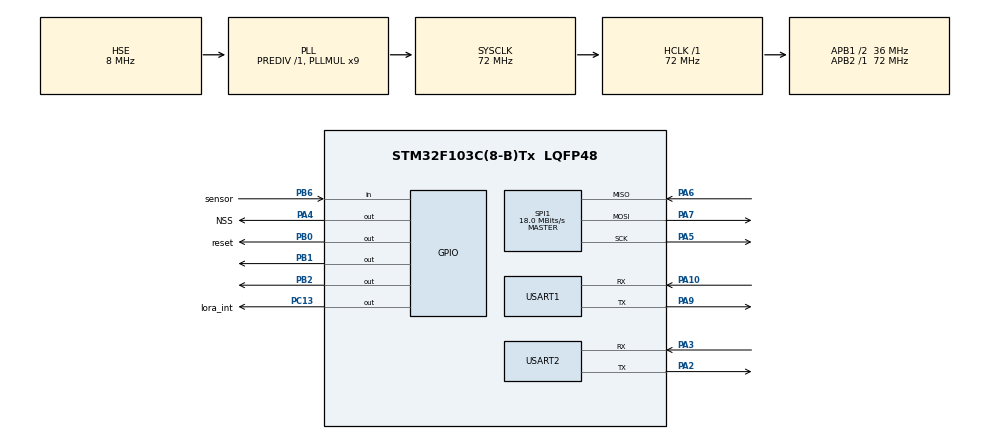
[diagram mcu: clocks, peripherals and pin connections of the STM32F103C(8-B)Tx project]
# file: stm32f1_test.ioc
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Mcu.Family=STM32F1
Mcu.Name=STM32F103C(8-B)Tx
Mcu.Package=LQFP48
NVIC.PriorityGroup=NVIC_PRIORITYGROUP_4
PA10.Mode=Asynchronous
PA10.Signal=USART1_RX
PA13.Mode=Trace_Asynchronous_SW
PA13.Signal=SYS_JTMS-SWDIO
PA14.Mode=Trace_Asynchronous_SW
PA14.Signal=SYS_JTCK-SWCLK
PA2.Mode=Asynchronous
PA2.Signal=USART2_TX
PA3.Mode=Asynchronous
PA3.Signal=USART2_RX
PA4.GPIO_Label=NSS
PA4.PinState=GPIO_PIN_SET
PA4.Signal=GPIO_Output
PA5.Mode=Full_Duplex_Master
PA5.Signal=SPI1_SCK
PA6.Mode=Full_Duplex_Master
PA6.Signal=SPI1_MISO
PA7.Mode=Full_Duplex_Master
PA7.Signal=SPI1_MOSI
PA9.Mode=Asynchronous
PA9.Signal=USART1_TX
PB0.GPIO_Label=reset
PB0.PinState=GPIO_PIN_SET
PB0.Signal=GPIO_Output
PB1.PinState=GPIO_PIN_SET
PB1.Signal=GPIO_Output
PB2.PinState=GPIO_PIN_SET
PB2.Signal=GPIO_Output
PB3.Mode=Trace_Asynchronous_SW
PB3.Signal=SYS_JTDO-TRACESWO
PB6.GPIO_Label=sensor
PB6.Signal=GPIO_Input
PC13-TAMPER-RTC.GPIO_Label=lora_int
PC13-TAMPER-RTC.PinState=GPIO_PIN_SET
PC13-TAMPER-RTC.Signal=GPIO_Output
PD0-OSC_IN.Mode=HSE-External-Oscillator
PD0-OSC_IN.Signal=RCC_OSC_IN
PD1-OSC_OUT.Mode=HSE-External-Oscillator
PD1-OSC_OUT.Signal=RCC_OSC_OUT
ProjectManager.HeapSize=0x200
ProjectManager.StackSize=0x400
ProjectManager.TargetToolchain=MDK-ARM V5
RCC.AHBFreq_Value=72000000
RCC.APB1CLKDivider=RCC_HCLK_DIV2
RCC.APB1Freq_Value=36000000
RCC.APB1TimFreq_Value=72000000
RCC.APB2Freq_Value=72000000
RCC.APB2TimFreq_Value=72000000
RCC.HCLKFreq_Value=72000000
RCC.PLLMUL=RCC_PLL_MUL9
RCC.PLLSourceVirtual=RCC_PLLSOURCE_HSE
RCC.SYSCLKFreq_VALUE=72000000
RCC.SYSCLKSource=RCC_SYSCLKSOURCE_PLLCLK
RCC.USBFreq_Value=72000000
SPI1.BaudRatePrescaler=SPI_BAUDRATEPRESCALER_4
SPI1.CalculateBaudRate=18.0 MBits/s
SPI1.Direction=SPI_DIRECTION_2LINES
SPI1.Mode=SPI_MODE_MASTER
SPI1.VirtualType=VM_MASTER
USART1.VirtualMode=VM_ASYNC
USART2.VirtualMode=VM_ASYNC
board=custom

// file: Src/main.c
/**
  ******************************************************************************
  * @file           : main.c
  * @brief          : Main program body
  ******************************************************************************
  ** This notice applies to any and all portions of this file
  * that are not between comment pairs USER CODE BEGIN and
  * USER CODE END. Other portions of this file, whether
  * inserted by the user or by software development tools
  * are owned by their respective copyright owners.
  *
  * COPYRIGHT(c) 2019 STMicroelectronics
  *
  * Redistribution and use in source and binary forms, with or without modification,
  * are permitted provided that the following conditions are met:
  *   1. Redistributions of source code must retain the above copyright notice,
  *      this list of conditions and the following disclaimer.
  *   2. Redistributions in binary form must reproduce the above copyright notice,
  *      this list of conditions and the following disclaimer in the documentation
  *      and/or other materials provided with the distribution.
  *   3. Neither the name of STMicroelectronics nor the names of its contributors
  *      may be used to endorse or promote products derived from this software
  *      without specific prior written permission.
  *
  * THIS SOFTWARE IS PROVIDED BY THE COPYRIGHT HOLDERS AND CONTRIBUTORS "AS IS"
  * AND ANY EXPRESS OR IMPLIED WARRANTIES, INCLUDING, BUT NOT LIMITED TO, THE
  * IMPLIED WARRANTIES OF MERCHANTABILITY AND FITNESS FOR A PARTICULAR PURPOSE ARE
  * DISCLAIMED. IN NO EVENT SHALL THE COPYRIGHT HOLDER OR CONTRIBUTORS BE LIABLE
  * FOR ANY DIRECT, INDIRECT, INCIDENTAL, SPECIAL, EXEMPLARY, OR CONSEQUENTIAL
  * DAMAGES (INCLUDING, BUT NOT LIMITED TO, PROCUREMENT OF SUBSTITUTE GOODS OR
  * SERVICES; LOSS OF USE, DATA, OR PROFITS; OR BUSINESS INTERRUPTION) HOWEVER
  * CAUSED AND ON ANY THEORY OF LIABILITY, WHETHER IN CONTRACT, STRICT LIABILITY,
  * OR TORT (INCLUDING NEGLIGENCE OR OTHERWISE) ARISING IN ANY WAY OUT OF THE USE
  * OF THIS SOFTWARE, EVEN IF ADVISED OF THE POSSIBILITY OF SUCH DAMAGE.
  *
  ******************************************************************************
  */
#include "main.h"
#include "stm32f1xx_hal.h"
#include "bsp_dht11.h"
#include "dwt_stm32_delay.h"
#include "spi.h"
#include "SX1278.h"
//#include <stdio.h>
#include "gpio.h"
//#include "stm32f1xx_hal_spi.h"

SPI_HandleTypeDef hspi1;

UART_HandleTypeDef huart1;
UART_HandleTypeDef huart2;

/* USER CODE BEGIN PV */
/* Private variables ---------------------------------------------------------*/
uint8_t data[]="HELLO WORLD\n"; // transmit
char dht_dat[10]; // Output data will be here
unsigned char GlobalErr = 0;

SX1278_hw_t SX1278_hw;
SX1278_t SX1278;

int master;
int ret,ret_temp_master,ret_humi_master,ret_temp_slave,ret_humi_slave;
char buffer[100],buffer_temp[100],buffer_humi[100];
//char buffer[64];

//int message;
//int message_length;
int message=1;
int message_length,message_length_temp,message_length_humi;
int humi_ng , temp_ng  ;
float humi_tp , temp_tp ;
/* USER CODE END PV */

void SystemClock_Config(void);
static void MX_GPIO_Init(void);
static void MX_USART1_UART_Init(void);
static void MX_USART2_UART_Init(void);
static void MX_SPI1_Init(void);

/* USER CODE BEGIN PFP */
/* Private function prototypes -----------------------------------------------*/

/* USER CODE END PFP */

#ifdef __GNUC__
 /* With GCC/RAISONANCE, small printf (option LD Linker->Libraries->Small printf
 set to 'Yes') calls __io_putchar() */
 #define PUTCHAR_PROTOTYPE int __io_putchar(int ch)
#else
 #define PUTCHAR_PROTOTYPE int fputc(int ch, FILE *f)
#endif /* __GNUC__ */

/**
 * @brief Retargets the C library printf function to the USART.
 * @param None
 * @retval None
 */
PUTCHAR_PROTOTYPE
{
 /* Place your implementation of fputc here */
 /* e.g. write a character to the USART */
 HAL_UART_Transmit(&huart1, (uint8_t *)&ch, 1, 100);

 return ch;
}
int main(void)
{
  /* USER CODE BEGIN 1 */
DHT11_DATA_TypeDef DHT11_DATA ;
  /* USER CODE END 1 */

  /* MCU Configuration----------------------------------------------------------*/

  /* Reset of all peripherals, Initializes the Flash interface and the Systick. */
  HAL_Init();

  /* Configure the system clock */
  SystemClock_Config();

  /* Initialize all configured peripherals */
  MX_GPIO_Init();
  MX_USART1_UART_Init();
  MX_USART2_UART_Init();
  MX_SPI1_Init();
	DHT11_Init();
	DWT_Delay_Init();

	master = HAL_GPIO_ReadPin(MODE_GPIO_Port, MODE_Pin);
	if (master == 1) {
		printf("Mode: Master\r\n");
		HAL_GPIO_WritePin(MODE_GPIO_Port, MODE_Pin, GPIO_PIN_RESET);
	} else {
		printf("Mode: Slave\r\n");
		HAL_GPIO_WritePin(MODE_GPIO_Port, MODE_Pin, GPIO_PIN_SET);
	}

	//initialize LoRa module
	SX1278_hw.dio0.port = DIO0_GPIO_Port;
	SX1278_hw.dio0.pin = DIO0_Pin;
	SX1278_hw.nss.port = NSS_GPIO_Port;
	SX1278_hw.nss.pin = NSS_Pin;
	SX1278_hw.reset.port = reset_GPIO_Port;
	SX1278_hw.reset.pin = reset_Pin;
	SX1278_hw.spi = &hspi1;

	SX1278.hw = &SX1278_hw;

	printf("Configuring LoRa module\r\n");
	SX1278_begin(&SX1278, SX1278_433MHZ, SX1278_POWER_17DBM, SX1278_LORA_SF_7,
			SX1278_LORA_BW_125KHZ, 13);
	printf("Done configuring LoRaModule\r\n");

	if (master == 1) {
		ret = SX1278_LoRaEntryTx(&SX1278, 16, 2000);
	} else {
		ret = SX1278_LoRaEntryRx(&SX1278, 16, 2000);
	}

	printf("\r\n check DTH11\r\n") ;
	//HAL_Delay(1000);
	for(int i = 0; i < 1000; i++){
		DWT_Delay_us(1000);
		}

  /* Infinite loop */
  while (1)
  {
/*if(Read_TempAndHumidity ( & DHT11_DATA) == SUCCESS)
		{
			// HIEN THI GIA TRI
			printf("\r\nDHT11!\r\n\r\n %d.%d %RH , %d.%d *C \r\n",DHT11_DATA.humi_int,DHT11_DATA.humi_deci,DHT11_DATA.temp_int,DHT11_DATA.temp_deci);
		}
		else
			printf("\r\n??DHT11??\r\n") ;

		//HAL_Delay(1000);
		for(int i = 0; i < 1000; i++){
		DWT_Delay_us(1000);
		}
		*/
  /* USER CODE BEGIN 3 */
	if (master == 1)
	{
		if(Read_TempAndHumidity ( & DHT11_DATA) == SUCCESS)
		{
			printf("Master ...\r\n");
			// HIEN THI GIA TRI
			printf("\r\nDHT11!\r\n\r\n %d.%d %RH , %d.%d *C \r\n",DHT11_DATA.humi_int,DHT11_DATA.humi_deci,DHT11_DATA.temp_int,DHT11_DATA.temp_deci);
			humi_ng = (int)DHT11_DATA.humi_int;
			humi_tp =(float)DHT11_DATA.humi_deci ;

			temp_ng = (int)DHT11_DATA.temp_int ;
			temp_tp = (float)DHT11_DATA.temp_deci ;
			//HAL_Delay(1000);
			for(int i = 0; i < 1000; i++)
			{
				DWT_Delay_us(1000);
			}
			printf("Sending package...\r\n");
				message_length_temp = sprintf(buffer, "%d%d%2.0f%d%2.0f",message,humi_ng,humi_tp*100,temp_ng,temp_tp*100);
			ret_temp_master = SX1278_LoRaEntryTx(&SX1278, message_length_temp, 2000);
			printf("Entry: %d\r\n", ret_temp_master);

			printf("Temp & Humi : %s\r\n", buffer);

			ret_temp_master = SX1278_LoRaTxPacket(&SX1278, (uint8_t *) buffer, message_length_temp,2000);

			printf("Transmission: %d\r\n", ret_temp_master);

			printf("Package sent...\r\n\n");
		}
		else{
			printf("\r\n??DHT11??\r\n") ;
			for(int i = 0; i < 1000; i++)
			{
				DWT_Delay_us(1000);
			}
		}

	}
		else {
			printf("Slave ...\r\n");
			HAL_Delay(1000);
			printf("Receiving package...\r\n");

		//	ret = SX1278_LoRaRxPacket(&SX1278);
			ret_temp_slave = SX1278_LoRaRxPacket(&SX1278);
		//	ret_humi = SX1278_LoRaRxPacket(&SX1278);

	  //	printf("Received: %d\r\n", ret);
			 printf("Received_Temp: %d\r\n", ret_temp_slave);
		//	printf("Received_Humi: %d\r\n", ret_humi);

			if (ret_temp_slave > 0) {

			//	SX1278_read(&SX1278, (uint8_t *) buffer, ret);
				SX1278_read(&SX1278, (uint8_t *) buffer_temp, ret_temp_slave);
			//	SX1278_read(&SX1278, (uint8_t *) buffer_humi, ret_humi);

	//	printf("Content (%d): %s\r\n", ret, buffer);
			printf("Content_Temp (%d): %s\r\n", ret_temp_slave, buffer_temp);
		//	printf("Content_Humi (%d): %s\r\n", ret_humi, buffer_humi);
			}
			printf("Package received ...\r\n");

		}
  }

  /* USER CODE END 3 */

}

void SystemClock_Config(void)
{

  RCC_OscInitTypeDef RCC_OscInitStruct;
  RCC_ClkInitTypeDef RCC_ClkInitStruct;

    /**Initializes the CPU, AHB and APB busses clocks
    */
  RCC_OscInitStruct.OscillatorType = RCC_OSCILLATORTYPE_HSE;
  RCC_OscInitStruct.HSEState = RCC_HSE_ON;
  RCC_OscInitStruct.HSEPredivValue = RCC_HSE_PREDIV_DIV1;
  RCC_OscInitStruct.HSIState = RCC_HSI_ON;
  RCC_OscInitStruct.PLL.PLLState = RCC_PLL_ON;
  RCC_OscInitStruct.PLL.PLLSource = RCC_PLLSOURCE_HSE;
  RCC_OscInitStruct.PLL.PLLMUL = RCC_PLL_MUL9;
  if (HAL_RCC_OscConfig(&RCC_OscInitStruct) != HAL_OK)
  {
    _Error_Handler(__FILE__, __LINE__);
  }

    /**Initializes the CPU, AHB and APB busses clocks
    */
  RCC_ClkInitStruct.ClockType = RCC_CLOCKTYPE_HCLK|RCC_CLOCKTYPE_SYSCLK
                              |RCC_CLOCKTYPE_PCLK1|RCC_CLOCKTYPE_PCLK2;
  RCC_ClkInitStruct.SYSCLKSource = RCC_SYSCLKSOURCE_PLLCLK;
  RCC_ClkInitStruct.AHBCLKDivider = RCC_SYSCLK_DIV1;
  RCC_ClkInitStruct.APB1CLKDivider = RCC_HCLK_DIV2;
  RCC_ClkInitStruct.APB2CLKDivider = RCC_HCLK_DIV1;

  if (HAL_RCC_ClockConfig(&RCC_ClkInitStruct, FLASH_LATENCY_2) != HAL_OK)
  {
    _Error_Handler(__FILE__, __LINE__);
  }

    /**Configure the Systick interrupt time
    */
  HAL_SYSTICK_Config(HAL_RCC_GetHCLKFreq()/1000);

    /**Configure the Systick
    */
  HAL_SYSTICK_CLKSourceConfig(SYSTICK_CLKSOURCE_HCLK);

  /* SysTick_IRQn interrupt configuration */
  HAL_NVIC_SetPriority(SysTick_IRQn, 0, 0);
}

/* SPI1 init function */
static void MX_SPI1_Init(void)
{

  /* SPI1 parameter configuration*/
  hspi1.Instance = SPI1;
  hspi1.Init.Mode = SPI_MODE_MASTER;
  hspi1.Init.Direction = SPI_DIRECTION_2LINES;
  hspi1.Init.DataSize = SPI_DATASIZE_8BIT;
  hspi1.Init.CLKPolarity = SPI_POLARITY_LOW;
  hspi1.Init.CLKPhase = SPI_PHASE_1EDGE;
  hspi1.Init.NSS = SPI_NSS_SOFT;
  hspi1.Init.BaudRatePrescaler = SPI_BAUDRATEPRESCALER_4;
  hspi1.Init.FirstBit = SPI_FIRSTBIT_MSB;
  hspi1.Init.TIMode = SPI_TIMODE_DISABLE;
  hspi1.Init.CRCCalculation = SPI_CRCCALCULATION_DISABLE;
  hspi1.Init.CRCPolynomial = 10;
  if (HAL_SPI_Init(&hspi1) != HAL_OK)
  {
    _Error_Handler(__FILE__, __LINE__);
  }

}

/* USART1 init function */
static void MX_USART1_UART_Init(void)
{

  huart1.Instance = USART1;
  huart1.Init.BaudRate = 115200;
  huart1.Init.WordLength = UART_WORDLENGTH_8B;
  huart1.Init.StopBits = UART_STOPBITS_1;
  huart1.Init.Parity = UART_PARITY_NONE;
  huart1.Init.Mode = UART_MODE_TX_RX;
  huart1.Init.HwFlowCtl = UART_HWCONTROL_NONE;
  huart1.Init.OverSampling = UART_OVERSAMPLING_16;
  if (HAL_UART_Init(&huart1) != HAL_OK)
  {
    _Error_Handler(__FILE__, __LINE__);
  }

}

/* USART2 init function */
static void MX_USART2_UART_Init(void)
{

  huart2.Instance = USART2;
  huart2.Init.BaudRate = 115200;
  huart2.Init.WordLength = UART_WORDLENGTH_8B;
  huart2.Init.StopBits = UART_STOPBITS_1;
  huart2.Init.Parity = UART_PARITY_NONE;
  huart2.Init.Mode = UART_MODE_TX_RX;
  huart2.Init.HwFlowCtl = UART_HWCONTROL_NONE;
  huart2.Init.OverSampling = UART_OVERSAMPLING_16;
  if (HAL_UART_Init(&huart2) != HAL_OK)
  {
    _Error_Handler(__FILE__, __LINE__);
  }

}

/** Configure pins as
        * Analog
        * Input
        * Output
        * EVENT_OUT
        * EXTI
*/
static void MX_GPIO_Init(void)
{

  GPIO_InitTypeDef GPIO_InitStruct;

  /* GPIO Ports Clock Enable */
  __HAL_RCC_GPIOC_CLK_ENABLE();
  __HAL_RCC_GPIOD_CLK_ENABLE();
  __HAL_RCC_GPIOA_CLK_ENABLE();
  __HAL_RCC_GPIOB_CLK_ENABLE();

  /*Configure GPIO pin Output Level */
  HAL_GPIO_WritePin(lora_int_GPIO_Port, lora_int_Pin, GPIO_PIN_SET);

  /*Configure GPIO pin Output Level */
  HAL_GPIO_WritePin(NSS_GPIO_Port, NSS_Pin, GPIO_PIN_SET);

  /*Configure GPIO pin Output Level */
  HAL_GPIO_WritePin(GPIOB, reset_Pin|GPIO_PIN_1|GPIO_PIN_2, GPIO_PIN_SET);

  /*Configure GPIO pin : lora_int_Pin */
  GPIO_InitStruct.Pin = lora_int_Pin;
  GPIO_InitStruct.Mode = GPIO_MODE_OUTPUT_PP;
  GPIO_InitStruct.Pull = GPIO_NOPULL;
  GPIO_InitStruct.Speed = GPIO_SPEED_FREQ_LOW;
  HAL_GPIO_Init(lora_int_GPIO_Port, &GPIO_InitStruct);

  /*Configure GPIO pin : NSS_Pin */
  GPIO_InitStruct.Pin = NSS_Pin;
  GPIO_InitStruct.Mode = GPIO_MODE_OUTPUT_PP;
  GPIO_InitStruct.Pull = GPIO_NOPULL;
  GPIO_InitStruct.Speed = GPIO_SPEED_FREQ_LOW;
  HAL_GPIO_Init(NSS_GPIO_Port, &GPIO_InitStruct);

  /*Configure GPIO pins : reset_Pin PB1 PB2 */
  GPIO_InitStruct.Pin = reset_Pin|GPIO_PIN_1|GPIO_PIN_2;
  GPIO_InitStruct.Mode = GPIO_MODE_OUTPUT_PP;
  GPIO_InitStruct.Pull = GPIO_NOPULL;
  GPIO_InitStruct.Speed = GPIO_SPEED_FREQ_LOW;
  HAL_GPIO_Init(GPIOB, &GPIO_InitStruct);

  /*Configure GPIO pin : sensor_Pin */
  GPIO_InitStruct.Pin = sensor_Pin;
  GPIO_InitStruct.Mode = GPIO_MODE_INPUT;
  GPIO_InitStruct.Pull = GPIO_NOPULL;
  HAL_GPIO_Init(sensor_GPIO_Port, &GPIO_InitStruct);

}

void _Error_Handler(char *file, int line)
{
  while(1)
  {
  }
}

/************************ (C) COPYRIGHT STMicroelectronics *****END OF FILE****/
